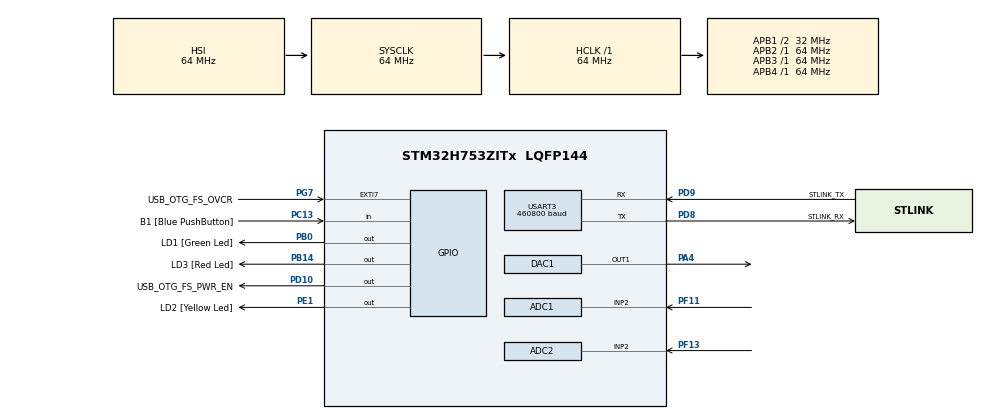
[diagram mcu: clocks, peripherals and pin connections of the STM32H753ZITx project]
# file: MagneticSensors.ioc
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ADC1.Channel-0\#ChannelRegularConversion=ADC_CHANNEL_2
ADC1.ClockPrescaler=ADC_CLOCK_ASYNC_DIV1
ADC1.ConversionDataManagement=ADC_CONVERSIONDATA_DMA_CIRCULAR
ADC1.DMAAccessModeView=ENABLE
ADC1.ExternalTrigConv=ADC_EXTERNALTRIG_T3_TRGO
ADC1.Mode=ADC_DUALMODE_REGSIMULT
ADC1.NbrOfConversion=1
ADC1.NbrOfConversionFlag=1
ADC1.OffsetNumber-0\#ChannelRegularConversion=ADC_OFFSET_NONE
ADC1.OffsetSignedSaturation-0\#ChannelRegularConversion=DISABLE
ADC1.Overrun=ADC_OVR_DATA_OVERWRITTEN
ADC1.Rank-0\#ChannelRegularConversion=1
ADC1.SamplingTime-0\#ChannelRegularConversion=ADC_SAMPLETIME_8CYCLES_5
ADC1.master=1
ADC2.Channel-2\#ChannelRegularConversion=ADC_CHANNEL_2
ADC2.DMAAccessModeView=ENABLE
ADC2.Mode=ADC_DUALMODE_REGSIMULT
ADC2.NbrOfConversionFlag=1
ADC2.OffsetNumber-2\#ChannelRegularConversion=ADC_OFFSET_NONE
ADC2.OffsetSignedSaturation-2\#ChannelRegularConversion=DISABLE
ADC2.Overrun=ADC_OVR_DATA_OVERWRITTEN
ADC2.Rank-2\#ChannelRegularConversion=1
ADC2.SamplingTime-2\#ChannelRegularConversion=ADC_SAMPLETIME_8CYCLES_5
CORTEX_M7.CPU_DCache=Disabled
CORTEX_M7.CPU_ICache=Disabled
CORTEX_M7.MPU_Control=__NULL
DAC1.DAC_Channel-DAC_OUT1=DAC_CHANNEL_1
DAC1.DAC_Trigger-DAC_OUT1=DAC_TRIGGER_T2_TRGO
Dma.ADC1.0.Direction=DMA_PERIPH_TO_MEMORY
Dma.ADC1.0.EventEnable=DISABLE
Dma.ADC1.0.FIFOMode=DMA_FIFOMODE_DISABLE
Dma.ADC1.0.Instance=DMA1_Stream0
Dma.ADC1.0.MemDataAlignment=DMA_MDATAALIGN_WORD
Dma.ADC1.0.MemInc=DMA_MINC_ENABLE
Dma.ADC1.0.Mode=DMA_CIRCULAR
Dma.ADC1.0.PeriphDataAlignment=DMA_PDATAALIGN_WORD
Dma.ADC1.0.PeriphInc=DMA_PINC_DISABLE
Dma.ADC1.0.Polarity=HAL_DMAMUX_REQ_GEN_RISING
Dma.ADC1.0.Priority=DMA_PRIORITY_LOW
Dma.ADC1.0.RequestNumber=1
Dma.ADC1.0.SignalID=NONE
Dma.ADC1.0.SyncEnable=DISABLE
Dma.ADC1.0.SyncPolarity=HAL_DMAMUX_SYNC_NO_EVENT
Dma.ADC1.0.SyncRequestNumber=1
Dma.ADC1.0.SyncSignalID=NONE
Dma.DAC1_CH1.2.Direction=DMA_MEMORY_TO_PERIPH
Dma.DAC1_CH1.2.EventEnable=DISABLE
Dma.DAC1_CH1.2.FIFOMode=DMA_FIFOMODE_DISABLE
Dma.DAC1_CH1.2.Instance=DMA1_Stream2
Dma.DAC1_CH1.2.MemDataAlignment=DMA_MDATAALIGN_HALFWORD
Dma.DAC1_CH1.2.MemInc=DMA_MINC_ENABLE
Dma.DAC1_CH1.2.Mode=DMA_CIRCULAR
Dma.DAC1_CH1.2.PeriphDataAlignment=DMA_PDATAALIGN_HALFWORD
Dma.DAC1_CH1.2.PeriphInc=DMA_PINC_DISABLE
Dma.DAC1_CH1.2.Polarity=HAL_DMAMUX_REQ_GEN_RISING
Dma.DAC1_CH1.2.Priority=DMA_PRIORITY_LOW
Dma.DAC1_CH1.2.RequestNumber=1
Dma.DAC1_CH1.2.SignalID=NONE
Dma.DAC1_CH1.2.SyncEnable=DISABLE
Dma.DAC1_CH1.2.SyncPolarity=HAL_DMAMUX_SYNC_NO_EVENT
Dma.DAC1_CH1.2.SyncRequestNumber=1
Dma.DAC1_CH1.2.SyncSignalID=NONE
Dma.Request0=ADC1
Dma.Request1=USART3_TX
Dma.Request2=DAC1_CH1
Dma.USART3_TX.1.Direction=DMA_MEMORY_TO_PERIPH
Dma.USART3_TX.1.EventEnable=DISABLE
Dma.USART3_TX.1.FIFOMode=DMA_FIFOMODE_DISABLE
Dma.USART3_TX.1.Instance=DMA1_Stream1
Dma.USART3_TX.1.MemDataAlignment=DMA_MDATAALIGN_BYTE
Dma.USART3_TX.1.MemInc=DMA_MINC_ENABLE
Dma.USART3_TX.1.Mode=DMA_NORMAL
Dma.USART3_TX.1.PeriphDataAlignment=DMA_PDATAALIGN_BYTE
Dma.USART3_TX.1.PeriphInc=DMA_PINC_DISABLE
Dma.USART3_TX.1.Polarity=HAL_DMAMUX_REQ_GEN_RISING
Dma.USART3_TX.1.Priority=DMA_PRIORITY_LOW
Dma.USART3_TX.1.RequestNumber=1
Dma.USART3_TX.1.SignalID=NONE
Dma.USART3_TX.1.SyncEnable=DISABLE
Dma.USART3_TX.1.SyncPolarity=HAL_DMAMUX_SYNC_NO_EVENT
Dma.USART3_TX.1.SyncRequestNumber=1
Dma.USART3_TX.1.SyncSignalID=NONE
Mcu.Family=STM32H7
Mcu.Name=STM32H753ZITx
Mcu.Package=LQFP144
NVIC.DMA1_Stream0_IRQn=true\:0\:0\:false\:false\:true\:false\:true\:true
NVIC.DMA1_Stream1_IRQn=true\:0\:0\:false\:false\:true\:false\:true\:true
NVIC.DMA1_Stream2_IRQn=true\:0\:0\:false\:false\:true\:false\:true\:true
NVIC.PriorityGroup=NVIC_PRIORITYGROUP_4
NVIC.USART3_IRQn=true\:0\:0\:false\:false\:true\:true\:true\:true
PA1.Signal=ETH_REF_CLK
PA11.Signal=USB_OTG_FS_DM
PA12.Signal=USB_OTG_FS_DP
PA2.Signal=ETH_MDIO
PA4.Signal=COMP_DAC11_group
PA7.Signal=ETH_CRS_DV
PA8.Signal=USB_OTG_FS_SOF
PA9.Signal=USB_OTG_FS_VBUS
PB0.GPIO_Label=LD1 [Green Led]
PB0.Signal=GPIO_Output
PB13.Signal=ETH_TXD1
PB14.GPIO_Label=LD3 [Red Led]
PB14.Signal=GPIO_Output
PC1.Signal=ETH_MDC
PC13.GPIO_Label=B1 [Blue PushButton]
PC13.Signal=GPIO_Input
PC14-OSC32_IN\ (OSC32_IN).Mode=LSE-External-Oscillator
PC14-OSC32_IN\ (OSC32_IN).Signal=RCC_OSC32_IN
PC15-OSC32_OUT\ (OSC32_OUT).Mode=LSE-External-Oscillator
PC15-OSC32_OUT\ (OSC32_OUT).Signal=RCC_OSC32_OUT
PC4.Signal=ETH_RXD0
PC5.Signal=ETH_RXD1
PD10.GPIO_Label=USB_OTG_FS_PWR_EN
PD10.Signal=GPIO_Output
PD8.GPIO_Label=STLINK_RX
PD8.Mode=Asynchronous
PD8.Signal=USART3_TX
PD9.GPIO_Label=STLINK_TX
PD9.Mode=Asynchronous
PD9.Signal=USART3_RX
PE1.GPIO_Label=LD2 [Yellow Led]
PE1.Signal=GPIO_Output
PF11.Mode=IN2-Single-Ended
PF11.Signal=ADC1_INP2
PF13.Mode=IN2-Single-Ended
PF13.Signal=ADC2_INP2
PG11.Signal=ETH_TX_EN
PG13.Signal=ETH_TXD0
PG7.GPIO_Label=USB_OTG_FS_OVCR
PG7.Signal=GPXTI7
PH0-OSC_IN\ (PH0).Mode=HSE-External-Clock-Source
PH0-OSC_IN\ (PH0).Signal=RCC_OSC_IN
PH1-OSC_OUT\ (PH1).Signal=RCC_OSC_OUT
ProjectManager.HeapSize=0x200
ProjectManager.StackSize=0x400
ProjectManager.TargetToolchain=STM32CubeIDE
RCC.ADCFreq_Value=32000000
RCC.APB1Freq_Value=32000000
RCC.APB2Freq_Value=64000000
RCC.APB3Freq_Value=64000000
RCC.APB4Freq_Value=64000000
RCC.CortexFreq_Value=64000000
RCC.D2PPRE1=RCC_APB1_DIV2
RCC.DIVM2=4
RCC.DIVN2=128
RCC.DIVP2=8
RCC.HCLKFreq_Value=64000000
RCC.HSE_VALUE=8000000
RCC.PLLSourceVirtual=RCC_PLLSOURCE_HSE
RCC.PREFETCH_ENABLE=1
RCC.SYSCLKFreq_VALUE=64000000
RCC.USBFreq_Value=16125000
SH.COMP_DAC11_group.0=DAC1_OUT1,DAC_OUT1
TIM2.Period=639
TIM2.TIM_MasterOutputTrigger=TIM_TRGO_UPDATE
TIM3.Period=199
TIM3.TIM_MasterOutputTrigger=TIM_TRGO_UPDATE
USART3.AutoBaudRateEnableParam=UART_ADVFEATURE_AUTOBAUDRATE_DISABLE
USART3.BaudRate=460800
USART3.ClockPrescaler=PRESCALER_DIV1
USART3.DMADisableonRxErrorParam=ADVFEATURE_DMA_ENABLEONRXERROR
USART3.DataInvertParam=ADVFEATURE_DATAINV_DISABLE
USART3.FIFOMode=FIFOMODE_DISABLE
USART3.MSBFirstParam=ADVFEATURE_MSBFIRST_DISABLE
USART3.Mode=MODE_TX_RX
USART3.OneBitSampling=UART_ONE_BIT_SAMPLE_DISABLE
USART3.OverSampling=UART_OVERSAMPLING_16
USART3.OverrunDisableParam=ADVFEATURE_OVERRUN_ENABLE
USART3.Parity=PARITY_NONE
USART3.RXFIFOThreshold=RXFIFO_THRESHOLD_1EIGHTHFULL
USART3.RxPinLevelInvertParam=ADVFEATURE_RXINV_DISABLE
USART3.StopBits=STOPBITS_1
USART3.SwapParam=ADVFEATURE_SWAP_DISABLE
USART3.TXFIFOThreshold=TXFIFO_THRESHOLD_1EIGHTHFULL
USART3.TxPinLevelInvertParam=ADVFEATURE_TXINV_DISABLE
USART3.VirtualMode-Asynchronous=VM_ASYNC
USART3.WordLength=WORDLENGTH_8B
VP_TIM2_VS_ClockSourceINT.Mode=Internal
VP_TIM3_VS_ClockSourceINT.Mode=Internal
board=NUCLEO-H753ZI

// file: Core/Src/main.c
/* USER CODE BEGIN Header */
/**
 ******************************************************************************
 * @file           : main.c
 * @brief          : Main program body
 ******************************************************************************
 * @attention
 *
 * Copyright (c) 2026 STMicroelectronics.
 * All rights reserved.
 *
 * This software is licensed under terms that can be found in the LICENSE file
 * in the root directory of this software component.
 * If no LICENSE file comes with this software, it is provided AS-IS.
 *
 ******************************************************************************
 */
/* USER CODE END Header */
#include "main.h"

/* USER CODE BEGIN Includes */
#include "samples.h"
/* USER CODE END Includes */

/* USER CODE BEGIN PD */
#define RAW_DATA_SIZE 1600
#define OVR 32
#define P 5
#define DATA_SIZE (RAW_DATA_SIZE / OVR)
#define UART_TX_BUF_SIZE (DATA_SIZE * 2)  // batch size
#define UART_RX_BUF_SIZE 4
#define SAMPLES_PER_SECOND 10000
#define DAC_LUT_SIZE 2000

//typedef struct __attribute__((packed)) {
//	uint32_t sync;
//	uint8_t data[UART_TX_BUF_SIZE];
//} UartPacket;
/* USER CODE END PD */

ADC_HandleTypeDef hadc1;
ADC_HandleTypeDef hadc2;
DMA_HandleTypeDef hdma_adc1;

DAC_HandleTypeDef hdac1;
DMA_HandleTypeDef hdma_dac1_ch1;

TIM_HandleTypeDef htim2;
TIM_HandleTypeDef htim3;

UART_HandleTypeDef huart3;
DMA_HandleTypeDef hdma_usart3_tx;

void SystemClock_Config(void);
void PeriphCommonClock_Config(void);
static void MX_GPIO_Init(void);
static void MX_DMA_Init(void);
static void MX_ADC1_Init(void);
static void MX_TIM3_Init(void);
static void MX_USART3_UART_Init(void);
static void MX_DAC1_Init(void);
static void MX_TIM2_Init(void);
static void MX_ADC2_Init(void);

/* USER CODE BEGIN 0 */
uint32_t adcCombinedBuffer[RAW_DATA_SIZE * 2];
//uint16_t adcBuffer[RAW_DATA_SIZE];
//uint16_t adcBufferRef[RAW_DATA_SIZE];
uint8_t uartTxBuffer[UART_TX_BUF_SIZE];
uint8_t uartTxBufferRef[SAMPLES_PER_SECOND * 3 * 2];
uint8_t uartRxBuffer[UART_RX_BUF_SIZE];

volatile uint16_t uartTxIndex = 0;
volatile uint16_t uartTxIndexRef = 0;
volatile uint8_t uartTxBusy = 0;
volatile uint8_t uartTxRequest = 0;
volatile uint8_t uartRxReceived = 0;

const uint16_t *dac_lut = dc_0;
uint16_t dac_lut_rx[DAC_LUT_SIZE] = { 0 };

//UartPacket uartPacket = { .sync = 0xDEADBEEF, .data = { 0 } };
/* USER CODE END 0 */

int main(void) {

	/* MCU Configuration--------------------------------------------------------*/

	/* Reset of all peripherals, Initializes the Flash interface and the Systick. */
	HAL_Init();

	/* Configure the system clock */
	SystemClock_Config();

	/* Configure the peripherals common clocks */
	PeriphCommonClock_Config();

	/* Initialize all configured peripherals */
	MX_GPIO_Init();
	MX_DMA_Init();
	MX_ADC1_Init();
	MX_TIM3_Init();
	MX_USART3_UART_Init();
	MX_DAC1_Init();
	MX_TIM2_Init();
	MX_ADC2_Init();
	/* USER CODE BEGIN 2 */
	HAL_ADCEx_Calibration_Start(&hadc1, ADC_CALIB_OFFSET_LINEARITY, ADC_SINGLE_ENDED);
	HAL_ADCEx_Calibration_Start(&hadc2, ADC_CALIB_OFFSET_LINEARITY, ADC_SINGLE_ENDED);
	HAL_Delay(1000);

	HAL_UART_Receive_IT(&huart3, uartRxBuffer, UART_RX_BUF_SIZE);
	/* USER CODE END 2 */

	/* Infinite loop */
	/* USER CODE BEGIN WHILE */
	volatile uint32_t n_samples = 0;
	volatile uint32_t n_samples_left = 0;
	volatile uint8_t dac_disabled = 0;
	volatile uint8_t adc_single_mode = 0;
	while (1) {
		/* USER CODE END WHILE */

		/* USER CODE BEGIN 3 */
		if (uartTxRequest && !uartTxBusy) {
			uartTxRequest = 0;
			uartTxBusy = 1;
			HAL_UART_Transmit_DMA(&huart3, uartTxBuffer, UART_TX_BUF_SIZE);
//			HAL_UART_Transmit_DMA(&huart3, (uint8_t*) &uartPacket, UART_TX_BUF_SIZE + 4);
//			HAL_GPIO_TogglePin(LD1_GPIO_Port, LD1_Pin);
			n_samples_left -= DATA_SIZE;
			if (n_samples_left == 0) {
				if (!adc_single_mode) {
					HAL_Delay(500);
					HAL_StatusTypeDef err = HAL_UART_Transmit_DMA(&huart3, uartTxBufferRef, n_samples * 2); // n_samples * 2
					if (err) {
						HAL_GPIO_WritePin(LD3_GPIO_Port, LD3_Pin, GPIO_PIN_SET);
					}
				} else {
					adc_single_mode = 0;
				}
				uartTxIndexRef = 0;

				HAL_TIM_Base_Stop(&htim3);
//				HAL_ADC_Stop_DMA(&hadc1);
				HAL_ADCEx_MultiModeStop_DMA(&hadc1);
				HAL_ADC_Stop(&hadc2);

				if (!dac_disabled) {
					HAL_TIM_Base_Stop(&htim2);
					HAL_DAC_Stop_DMA(&hdac1, DAC_CHANNEL_1);
				} else {
					dac_disabled = 0;
				}

//				HAL_Delay(500);
//				uint16_t batch_samples = 1000;
//				uint16_t batch_bytes = batch_samples * 2;
//				uint32_t total_bytes = n_samples * 2;
//				uint32_t bytes_sent = 0;
//				uint32_t timeout_ms = 1000; // 1 sekunda timeoutu na pojedynczą paczkę

//				while (bytes_sent < total_bytes) {
//					// Określamy, ile bajtów wysłać w tej iteracji (pełna paczka lub to, co zostało na końcu)
//					uint16_t bytes_to_send =
//							(total_bytes - bytes_sent > batch_bytes) ? batch_bytes : (total_bytes - bytes_sent);
//
//					// Przesuwamy wskaźnik na odpowiednie miejsce w buforze
//					uint8_t *pData = (uint8_t*) uartTxBufferRef + bytes_sent;
//
//					// Blokujące wysłanie aktualnej paczki
//					HAL_StatusTypeDef err = HAL_UART_Transmit(&huart3, pData, bytes_to_send, timeout_ms);
//
//					if (err != HAL_OK) {
//						HAL_GPIO_WritePin(LD3_GPIO_Port, LD3_Pin, GPIO_PIN_SET);
//						break;
//					}
//
//					bytes_sent += bytes_to_send;
//				}

				HAL_UART_Receive_IT(&huart3, uartRxBuffer, UART_RX_BUF_SIZE);
				HAL_GPIO_WritePin(LD1_GPIO_Port, LD1_Pin, GPIO_PIN_RESET);
			}
		}
		if (uartRxReceived) {
			if (uartRxBuffer[0] == 'S' || uartRxBuffer[0] == 'T' || uartRxBuffer[0] == 'C') {
				n_samples = uartRxBuffer[1] * SAMPLES_PER_SECOND;
				n_samples_left = n_samples;
				uartTxIndexRef = 0;

				if (uartRxBuffer[2] == 0) {
					dac_lut = sine_50_uT_RMS;
				} else if (uartRxBuffer[2] == 1) {
					dac_lut = sine_odd_harmonics;
				} else if (uartRxBuffer[2] == 2) {
					dac_lut = square_wave;
				} else if (uartRxBuffer[2] == 3) {
					dac_lut = dc_0;
				} else if (uartRxBuffer[2] == 4) {
					dac_lut = sine_20_uT_RMS;
				} else {
					dac_lut = dac_lut_rx;
				}

//				switch (uartRxBuffer[3]) {
//				case 1:
//					__HAL_TIM_SET_AUTORELOAD(&htim2, 1279);
//					break; // 50 Hz
//				case 2:
//					__HAL_TIM_SET_AUTORELOAD(&htim2, 639);
//					break; // 100 Hz
//				case 4:
//					__HAL_TIM_SET_AUTORELOAD(&htim2, 319);
//					break; // 200 Hz
//				case 5:
//					__HAL_TIM_SET_AUTORELOAD(&htim2, 255);
//					break; // 250 Hz
//				case 8:
//					__HAL_TIM_SET_AUTORELOAD(&htim2, 159);
//					break; // 400 Hz
//				case 10:
//					__HAL_TIM_SET_AUTORELOAD(&htim2, 127);
//					break; // 500 Hz
//				case 16:
//					__HAL_TIM_SET_AUTORELOAD(&htim2, 79);
//					break; // 800 Hz
//				case 20:
//					__HAL_TIM_SET_AUTORELOAD(&htim2, 63);
//					break; // 1000 Hz
//				case 32:
//					__HAL_TIM_SET_AUTORELOAD(&htim2, 39);
//					break; // 1600 Hz
//				case 40:
//					__HAL_TIM_SET_AUTORELOAD(&htim2, 31);
//					break; // 2000 Hz
//				default:
//					__HAL_TIM_SET_AUTORELOAD(&htim2, 1279); // Default 50 Hz
//					break;
//				}
//				htim2.Instance->EGR = TIM_EGR_UG;
//				__HAL_TIM_CLEAR_FLAG(&htim2, TIM_FLAG_UPDATE);

				if (uartRxBuffer[0] == 'S' || uartRxBuffer[0] == 'C') {
					HAL_DAC_Start_DMA(&hdac1, DAC_CHANNEL_1, (uint32_t*) dac_lut, DAC_LUT_SIZE, DAC_ALIGN_12B_R);
					HAL_TIM_Base_Start(&htim2);

					if (uartRxBuffer[0] == 'C') {
						adc_single_mode = 1;
					}
				}
//				} else if (uartRxBuffer[0] == 'C') {
//					adc_single_mode = 1;
//					dac_disabled = 1;
//				}
				else {
					dac_disabled = 1;
				}

				HAL_Delay(10);

				// HAL_ADC_Start_DMA(&hadc1, (uint32_t*) adcBuffer, RAW_DATA_SIZE);
				HAL_ADC_Start(&hadc2);
				HAL_ADCEx_MultiModeStart_DMA(&hadc1, adcCombinedBuffer, RAW_DATA_SIZE * 2);
				HAL_TIM_Base_Start(&htim3);
				uartRxReceived = 0;

				HAL_GPIO_WritePin(LD1_GPIO_Port, LD1_Pin, GPIO_PIN_SET);
			} else if (uartRxBuffer[0] == 'R') {
				uartRxReceived = 0;
				HAL_StatusTypeDef err = HAL_UART_Receive(&huart3, (uint8_t*) dac_lut_rx, DAC_LUT_SIZE * 2, 1000);
				HAL_UART_Receive_IT(&huart3, uartRxBuffer, UART_RX_BUF_SIZE);
			}
		}
	}
	/* USER CODE END 3 */
}

void SystemClock_Config(void) {
	RCC_OscInitTypeDef RCC_OscInitStruct = { 0 };
	RCC_ClkInitTypeDef RCC_ClkInitStruct = { 0 };

	/** Supply configuration update enable
	 */
	HAL_PWREx_ConfigSupply(PWR_LDO_SUPPLY);

	/** Configure the main internal regulator output voltage
	 */
	__HAL_PWR_VOLTAGESCALING_CONFIG(PWR_REGULATOR_VOLTAGE_SCALE3);

	while (!__HAL_PWR_GET_FLAG(PWR_FLAG_VOSRDY)) {
	}

	/** Macro to configure the PLL clock source
	 */
	__HAL_RCC_PLL_PLLSOURCE_CONFIG(RCC_PLLSOURCE_HSE);

	/** Initializes the RCC Oscillators according to the specified parameters
	 * in the RCC_OscInitTypeDef structure.
	 */
	RCC_OscInitStruct.OscillatorType = RCC_OSCILLATORTYPE_HSI | RCC_OSCILLATORTYPE_HSE;
	RCC_OscInitStruct.HSEState = RCC_HSE_BYPASS;
	RCC_OscInitStruct.HSIState = RCC_HSI_DIV1;
	RCC_OscInitStruct.HSICalibrationValue = RCC_HSICALIBRATION_DEFAULT;
	RCC_OscInitStruct.PLL.PLLState = RCC_PLL_NONE;
	if (HAL_RCC_OscConfig(&RCC_OscInitStruct) != HAL_OK) {
		Error_Handler();
	}

	/** Initializes the CPU, AHB and APB buses clocks
	 */
	RCC_ClkInitStruct.ClockType = RCC_CLOCKTYPE_HCLK | RCC_CLOCKTYPE_SYSCLK | RCC_CLOCKTYPE_PCLK1 | RCC_CLOCKTYPE_PCLK2
			| RCC_CLOCKTYPE_D3PCLK1 | RCC_CLOCKTYPE_D1PCLK1;
	RCC_ClkInitStruct.SYSCLKSource = RCC_SYSCLKSOURCE_HSI;
	RCC_ClkInitStruct.SYSCLKDivider = RCC_SYSCLK_DIV1;
	RCC_ClkInitStruct.AHBCLKDivider = RCC_HCLK_DIV1;
	RCC_ClkInitStruct.APB3CLKDivider = RCC_APB3_DIV1;
	RCC_ClkInitStruct.APB1CLKDivider = RCC_APB1_DIV2;
	RCC_ClkInitStruct.APB2CLKDivider = RCC_APB2_DIV1;
	RCC_ClkInitStruct.APB4CLKDivider = RCC_APB4_DIV1;

	if (HAL_RCC_ClockConfig(&RCC_ClkInitStruct, FLASH_LATENCY_1) != HAL_OK) {
		Error_Handler();
	}
}

void PeriphCommonClock_Config(void) {
	RCC_PeriphCLKInitTypeDef PeriphClkInitStruct = { 0 };

	/** Initializes the peripherals clock
	 */
	PeriphClkInitStruct.PeriphClockSelection = RCC_PERIPHCLK_ADC;
	PeriphClkInitStruct.PLL2.PLL2M = 4;
	PeriphClkInitStruct.PLL2.PLL2N = 128;
	PeriphClkInitStruct.PLL2.PLL2P = 8;
	PeriphClkInitStruct.PLL2.PLL2Q = 2;
	PeriphClkInitStruct.PLL2.PLL2R = 2;
	PeriphClkInitStruct.PLL2.PLL2RGE = RCC_PLL2VCIRANGE_1;
	PeriphClkInitStruct.PLL2.PLL2VCOSEL = RCC_PLL2VCOWIDE;
	PeriphClkInitStruct.PLL2.PLL2FRACN = 0;
	PeriphClkInitStruct.AdcClockSelection = RCC_ADCCLKSOURCE_PLL2;
	if (HAL_RCCEx_PeriphCLKConfig(&PeriphClkInitStruct) != HAL_OK) {
		Error_Handler();
	}
}

static void MX_ADC1_Init(void) {

	ADC_MultiModeTypeDef multimode = { 0 };
	ADC_ChannelConfTypeDef sConfig = { 0 };

	/** Common config
	 */
	hadc1.Instance = ADC1;
	hadc1.Init.ClockPrescaler = ADC_CLOCK_ASYNC_DIV1;
	hadc1.Init.Resolution = ADC_RESOLUTION_16B;
	hadc1.Init.ScanConvMode = ADC_SCAN_DISABLE;
	hadc1.Init.EOCSelection = ADC_EOC_SINGLE_CONV;
	hadc1.Init.LowPowerAutoWait = DISABLE;
	hadc1.Init.ContinuousConvMode = DISABLE;
	hadc1.Init.NbrOfConversion = 1;
	hadc1.Init.DiscontinuousConvMode = DISABLE;
	hadc1.Init.ExternalTrigConv = ADC_EXTERNALTRIG_T3_TRGO;
	hadc1.Init.ExternalTrigConvEdge = ADC_EXTERNALTRIGCONVEDGE_RISING;
	hadc1.Init.ConversionDataManagement = ADC_CONVERSIONDATA_DMA_CIRCULAR;
	hadc1.Init.Overrun = ADC_OVR_DATA_OVERWRITTEN;
	hadc1.Init.LeftBitShift = ADC_LEFTBITSHIFT_NONE;
	hadc1.Init.OversamplingMode = DISABLE;
	if (HAL_ADC_Init(&hadc1) != HAL_OK) {
		Error_Handler();
	}

	/** Configure the ADC multi-mode
	 */
	multimode.Mode = ADC_DUALMODE_REGSIMULT;
	multimode.DualModeData = ADC_DUALMODEDATAFORMAT_32_10_BITS;
	multimode.TwoSamplingDelay = ADC_TWOSAMPLINGDELAY_1CYCLE;
	if (HAL_ADCEx_MultiModeConfigChannel(&hadc1, &multimode) != HAL_OK) {
		Error_Handler();
	}

	/** Configure Regular Channel
	 */
	sConfig.Channel = ADC_CHANNEL_2;
	sConfig.Rank = ADC_REGULAR_RANK_1;
	sConfig.SamplingTime = ADC_SAMPLETIME_8CYCLES_5;
	sConfig.SingleDiff = ADC_SINGLE_ENDED;
	sConfig.OffsetNumber = ADC_OFFSET_NONE;
	sConfig.Offset = 0;
	sConfig.OffsetSignedSaturation = DISABLE;
	if (HAL_ADC_ConfigChannel(&hadc1, &sConfig) != HAL_OK) {
		Error_Handler();
	}

}

static void MX_ADC2_Init(void) {

	ADC_ChannelConfTypeDef sConfig = { 0 };

	/** Common config
	 */
	hadc2.Instance = ADC2;
	hadc2.Init.ClockPrescaler = ADC_CLOCK_ASYNC_DIV1;
	hadc2.Init.Resolution = ADC_RESOLUTION_16B;
	hadc2.Init.ScanConvMode = ADC_SCAN_DISABLE;
	hadc2.Init.EOCSelection = ADC_EOC_SINGLE_CONV;
	hadc2.Init.LowPowerAutoWait = DISABLE;
	hadc2.Init.ContinuousConvMode = DISABLE;
	hadc2.Init.NbrOfConversion = 1;
	hadc2.Init.DiscontinuousConvMode = DISABLE;
	hadc2.Init.ConversionDataManagement = ADC_CONVERSIONDATA_DR;
	hadc2.Init.Overrun = ADC_OVR_DATA_OVERWRITTEN;
	hadc2.Init.LeftBitShift = ADC_LEFTBITSHIFT_NONE;
	hadc2.Init.OversamplingMode = DISABLE;
	if (HAL_ADC_Init(&hadc2) != HAL_OK) {
		Error_Handler();
	}

	/** Configure Regular Channel
	 */
	sConfig.Channel = ADC_CHANNEL_2;
	sConfig.Rank = ADC_REGULAR_RANK_1;
	sConfig.SamplingTime = ADC_SAMPLETIME_8CYCLES_5;
	sConfig.SingleDiff = ADC_SINGLE_ENDED;
	sConfig.OffsetNumber = ADC_OFFSET_NONE;
	sConfig.Offset = 0;
	sConfig.OffsetSignedSaturation = DISABLE;
	if (HAL_ADC_ConfigChannel(&hadc2, &sConfig) != HAL_OK) {
		Error_Handler();
	}

}

static void MX_DAC1_Init(void) {

	DAC_ChannelConfTypeDef sConfig = { 0 };

	/** DAC Initialization
	 */
	hdac1.Instance = DAC1;
	if (HAL_DAC_Init(&hdac1) != HAL_OK) {
		Error_Handler();
	}

	/** DAC channel OUT1 config
	 */
	sConfig.DAC_SampleAndHold = DAC_SAMPLEANDHOLD_DISABLE;
	sConfig.DAC_Trigger = DAC_TRIGGER_T2_TRGO;
	sConfig.DAC_OutputBuffer = DAC_OUTPUTBUFFER_ENABLE;
	sConfig.DAC_ConnectOnChipPeripheral = DAC_CHIPCONNECT_DISABLE;
	sConfig.DAC_UserTrimming = DAC_TRIMMING_FACTORY;
	if (HAL_DAC_ConfigChannel(&hdac1, &sConfig, DAC_CHANNEL_1) != HAL_OK) {
		Error_Handler();
	}

}

static void MX_TIM2_Init(void) {

	TIM_ClockConfigTypeDef sClockSourceConfig = { 0 };
	TIM_MasterConfigTypeDef sMasterConfig = { 0 };

	htim2.Instance = TIM2;
	htim2.Init.Prescaler = 0;
	htim2.Init.CounterMode = TIM_COUNTERMODE_UP;
	htim2.Init.Period = 639;
	htim2.Init.ClockDivision = TIM_CLOCKDIVISION_DIV1;
	htim2.Init.AutoReloadPreload = TIM_AUTORELOAD_PRELOAD_DISABLE;
	if (HAL_TIM_Base_Init(&htim2) != HAL_OK) {
		Error_Handler();
	}
	sClockSourceConfig.ClockSource = TIM_CLOCKSOURCE_INTERNAL;
	if (HAL_TIM_ConfigClockSource(&htim2, &sClockSourceConfig) != HAL_OK) {
		Error_Handler();
	}
	sMasterConfig.MasterOutputTrigger = TIM_TRGO_UPDATE;
	sMasterConfig.MasterSlaveMode = TIM_MASTERSLAVEMODE_DISABLE;
	if (HAL_TIMEx_MasterConfigSynchronization(&htim2, &sMasterConfig) != HAL_OK) {
		Error_Handler();
	}

}

static void MX_TIM3_Init(void) {

	TIM_ClockConfigTypeDef sClockSourceConfig = { 0 };
	TIM_MasterConfigTypeDef sMasterConfig = { 0 };

	htim3.Instance = TIM3;
	htim3.Init.Prescaler = 0;
	htim3.Init.CounterMode = TIM_COUNTERMODE_UP;
	htim3.Init.Period = 199;
	htim3.Init.ClockDivision = TIM_CLOCKDIVISION_DIV1;
	htim3.Init.AutoReloadPreload = TIM_AUTORELOAD_PRELOAD_DISABLE;
	if (HAL_TIM_Base_Init(&htim3) != HAL_OK) {
		Error_Handler();
	}
	sClockSourceConfig.ClockSource = TIM_CLOCKSOURCE_INTERNAL;
	if (HAL_TIM_ConfigClockSource(&htim3, &sClockSourceConfig) != HAL_OK) {
		Error_Handler();
	}
	sMasterConfig.MasterOutputTrigger = TIM_TRGO_UPDATE;
	sMasterConfig.MasterSlaveMode = TIM_MASTERSLAVEMODE_DISABLE;
	if (HAL_TIMEx_MasterConfigSynchronization(&htim3, &sMasterConfig) != HAL_OK) {
		Error_Handler();
	}

}

static void MX_USART3_UART_Init(void) {

	huart3.Instance = USART3;
	huart3.Init.BaudRate = 460800;
	huart3.Init.WordLength = UART_WORDLENGTH_8B;
	huart3.Init.StopBits = UART_STOPBITS_1;
	huart3.Init.Parity = UART_PARITY_NONE;
	huart3.Init.Mode = UART_MODE_TX_RX;
	huart3.Init.HwFlowCtl = UART_HWCONTROL_NONE;
	huart3.Init.OverSampling = UART_OVERSAMPLING_16;
	huart3.Init.OneBitSampling = UART_ONE_BIT_SAMPLE_DISABLE;
	huart3.Init.ClockPrescaler = UART_PRESCALER_DIV1;
	huart3.AdvancedInit.AdvFeatureInit = UART_ADVFEATURE_NO_INIT;
	if (HAL_UART_Init(&huart3) != HAL_OK) {
		Error_Handler();
	}
	if (HAL_UARTEx_SetTxFifoThreshold(&huart3, UART_TXFIFO_THRESHOLD_1_8) != HAL_OK) {
		Error_Handler();
	}
	if (HAL_UARTEx_SetRxFifoThreshold(&huart3, UART_RXFIFO_THRESHOLD_1_8) != HAL_OK) {
		Error_Handler();
	}
	if (HAL_UARTEx_DisableFifoMode(&huart3) != HAL_OK) {
		Error_Handler();
	}

}

static void MX_DMA_Init(void) {

	/* DMA controller clock enable */
	__HAL_RCC_DMA1_CLK_ENABLE();

	/* DMA interrupt init */
	/* DMA1_Stream0_IRQn interrupt configuration */
	HAL_NVIC_SetPriority(DMA1_Stream0_IRQn, 0, 0);
	HAL_NVIC_EnableIRQ(DMA1_Stream0_IRQn);
	/* DMA1_Stream1_IRQn interrupt configuration */
	HAL_NVIC_SetPriority(DMA1_Stream1_IRQn, 0, 0);
	HAL_NVIC_EnableIRQ(DMA1_Stream1_IRQn);
	/* DMA1_Stream2_IRQn interrupt configuration */
	HAL_NVIC_SetPriority(DMA1_Stream2_IRQn, 0, 0);
	HAL_NVIC_EnableIRQ(DMA1_Stream2_IRQn);

}

static void MX_GPIO_Init(void) {
	GPIO_InitTypeDef GPIO_InitStruct = { 0 };

	/* GPIO Ports Clock Enable */
	__HAL_RCC_GPIOC_CLK_ENABLE();
	__HAL_RCC_GPIOH_CLK_ENABLE();
	__HAL_RCC_GPIOA_CLK_ENABLE();
	__HAL_RCC_GPIOB_CLK_ENABLE();
	__HAL_RCC_GPIOF_CLK_ENABLE();
	__HAL_RCC_GPIOD_CLK_ENABLE();
	__HAL_RCC_GPIOG_CLK_ENABLE();
	__HAL_RCC_GPIOE_CLK_ENABLE();

	/*Configure GPIO pin Output Level */
	HAL_GPIO_WritePin(GPIOB, LD1_Pin | LD3_Pin, GPIO_PIN_RESET);

	/*Configure GPIO pin Output Level */
	HAL_GPIO_WritePin(USB_OTG_FS_PWR_EN_GPIO_Port, USB_OTG_FS_PWR_EN_Pin, GPIO_PIN_RESET);

	/*Configure GPIO pin Output Level */
	HAL_GPIO_WritePin(LD2_GPIO_Port, LD2_Pin, GPIO_PIN_RESET);

	/*Configure GPIO pin : B1_Pin */
	GPIO_InitStruct.Pin = B1_Pin;
	GPIO_InitStruct.Mode = GPIO_MODE_INPUT;
	GPIO_InitStruct.Pull = GPIO_NOPULL;
	HAL_GPIO_Init(B1_GPIO_Port, &GPIO_InitStruct);

	/*Configure GPIO pins : PC1 PC4 PC5 */
	GPIO_InitStruct.Pin = GPIO_PIN_1 | GPIO_PIN_4 | GPIO_PIN_5;
	GPIO_InitStruct.Mode = GPIO_MODE_AF_PP;
	GPIO_InitStruct.Pull = GPIO_NOPULL;
	GPIO_InitStruct.Speed = GPIO_SPEED_FREQ_LOW;
	GPIO_InitStruct.Alternate = GPIO_AF11_ETH;
	HAL_GPIO_Init(GPIOC, &GPIO_InitStruct);

	/*Configure GPIO pins : PA1 PA2 PA7 */
	GPIO_InitStruct.Pin = GPIO_PIN_1 | GPIO_PIN_2 | GPIO_PIN_7;
	GPIO_InitStruct.Mode = GPIO_MODE_AF_PP;
	GPIO_InitStruct.Pull = GPIO_NOPULL;
	GPIO_InitStruct.Speed = GPIO_SPEED_FREQ_LOW;
	GPIO_InitStruct.Alternate = GPIO_AF11_ETH;
	HAL_GPIO_Init(GPIOA, &GPIO_InitStruct);

	/*Configure GPIO pins : LD1_Pin LD3_Pin */
	GPIO_InitStruct.Pin = LD1_Pin | LD3_Pin;
	GPIO_InitStruct.Mode = GPIO_MODE_OUTPUT_PP;
	GPIO_InitStruct.Pull = GPIO_NOPULL;
	GPIO_InitStruct.Speed = GPIO_SPEED_FREQ_LOW;
	HAL_GPIO_Init(GPIOB, &GPIO_InitStruct);

	/*Configure GPIO pin : PB13 */
	GPIO_InitStruct.Pin = GPIO_PIN_13;
	GPIO_InitStruct.Mode = GPIO_MODE_AF_PP;
	GPIO_InitStruct.Pull = GPIO_NOPULL;
	GPIO_InitStruct.Speed = GPIO_SPEED_FREQ_LOW;
	GPIO_InitStruct.Alternate = GPIO_AF11_ETH;
	HAL_GPIO_Init(GPIOB, &GPIO_InitStruct);

	/*Configure GPIO pin : USB_OTG_FS_PWR_EN_Pin */
	GPIO_InitStruct.Pin = USB_OTG_FS_PWR_EN_Pin;
	GPIO_InitStruct.Mode = GPIO_MODE_OUTPUT_PP;
	GPIO_InitStruct.Pull = GPIO_NOPULL;
	GPIO_InitStruct.Speed = GPIO_SPEED_FREQ_LOW;
	HAL_GPIO_Init(USB_OTG_FS_PWR_EN_GPIO_Port, &GPIO_InitStruct);

	/*Configure GPIO pin : USB_OTG_FS_OVCR_Pin */
	GPIO_InitStruct.Pin = USB_OTG_FS_OVCR_Pin;
	GPIO_InitStruct.Mode = GPIO_MODE_IT_RISING;
	GPIO_InitStruct.Pull = GPIO_NOPULL;
	HAL_GPIO_Init(USB_OTG_FS_OVCR_GPIO_Port, &GPIO_InitStruct);

	/*Configure GPIO pins : PA8 PA11 PA12 */
	GPIO_InitStruct.Pin = GPIO_PIN_8 | GPIO_PIN_11 | GPIO_PIN_12;
	GPIO_InitStruct.Mode = GPIO_MODE_AF_PP;
	GPIO_InitStruct.Pull = GPIO_NOPULL;
	GPIO_InitStruct.Speed = GPIO_SPEED_FREQ_LOW;
	GPIO_InitStruct.Alternate = GPIO_AF10_OTG1_FS;
	HAL_GPIO_Init(GPIOA, &GPIO_InitStruct);

	/*Configure GPIO pins : PG11 PG13 */
	GPIO_InitStruct.Pin = GPIO_PIN_11 | GPIO_PIN_13;
	GPIO_InitStruct.Mode = GPIO_MODE_AF_PP;
	GPIO_InitStruct.Pull = GPIO_NOPULL;
	GPIO_InitStruct.Speed = GPIO_SPEED_FREQ_LOW;
	GPIO_InitStruct.Alternate = GPIO_AF11_ETH;
	HAL_GPIO_Init(GPIOG, &GPIO_InitStruct);

	/*Configure GPIO pin : LD2_Pin */
	GPIO_InitStruct.Pin = LD2_Pin;
	GPIO_InitStruct.Mode = GPIO_MODE_OUTPUT_PP;
	GPIO_InitStruct.Pull = GPIO_NOPULL;
	GPIO_InitStruct.Speed = GPIO_SPEED_FREQ_LOW;
	HAL_GPIO_Init(LD2_GPIO_Port, &GPIO_InitStruct);

}

/* USER CODE BEGIN 4 */
int __io_putchar(int ch) {
	HAL_UART_Transmit(&huart3, (uint8_t*) &ch, 1, HAL_MAX_DELAY);
	return ch;
}

//static inline void processAdcBlock(uint16_t *buffer, uint16_t len) {
static inline void processAdcBlock(uint32_t *buffer, uint16_t len) {
	for (uint16_t i = 0; i < len; i += OVR) {
		uint32_t adcResultTemp = 0;
		uint32_t adcResultTemp2 = 0;
		for (uint8_t j = 0; j < OVR; ++j) {
			adcResultTemp += (uint16_t) (buffer[i + j] & 0xFFFF);
			adcResultTemp2 += (uint16_t) ((buffer[i + j] >> 16) & 0xFFFF);
		}
		adcResultTemp >>= P;
		adcResultTemp2 >>= P;
		uartTxBuffer[uartTxIndex++] = adcResultTemp >> 8;
		uartTxBuffer[uartTxIndex++] = adcResultTemp;

		uartTxBufferRef[uartTxIndexRef++] = adcResultTemp2 >> 8;
		uartTxBufferRef[uartTxIndexRef++] = adcResultTemp2;

//		uartPacket.data[uartTxIndex++] = adcResultTemp >> 8;
//		uartPacket.data[uartTxIndex++] = adcResultTemp;
	}
	uartTxIndex = 0;
//	uartTxIndexRef = 0;
	uartTxRequest = 1;
//	if (uartTxIndex >= UART_TX_BUF_SIZE && !uartTxRequest) {
//		uartTxRequest = 1;
//	}
}

void HAL_ADC_ConvHalfCpltCallback(ADC_HandleTypeDef *hadc) {
	if (hadc->Instance == ADC1) {
//		processAdcBlock(&adcBuffer[0], RAW_DATA_SIZE / 2);
		processAdcBlock(&adcCombinedBuffer[0], RAW_DATA_SIZE);
	}
}

void HAL_ADC_ConvCpltCallback(ADC_HandleTypeDef *hadc) {
	if (hadc->Instance == ADC1) {
//		processAdcBlock(&adcBuffer[RAW_DATA_SIZE / 2], RAW_DATA_SIZE / 2);
		processAdcBlock(&adcCombinedBuffer[RAW_DATA_SIZE], RAW_DATA_SIZE);
	}
}

void HAL_UART_TxCpltCallback(UART_HandleTypeDef *huart) {
	if (huart->Instance == USART3) {
		uartTxBusy = 0;
		uartTxIndex = 0;
//		uartTxIndexRef = 0;
	}
}

void HAL_UART_RxCpltCallback(UART_HandleTypeDef *huart) {
	if (huart->Instance == USART3) {
		uartRxReceived = 1;
	}
}
/* USER CODE END 4 */

void Error_Handler(void) {
	__disable_irq();
	while (1) {
	}
}
